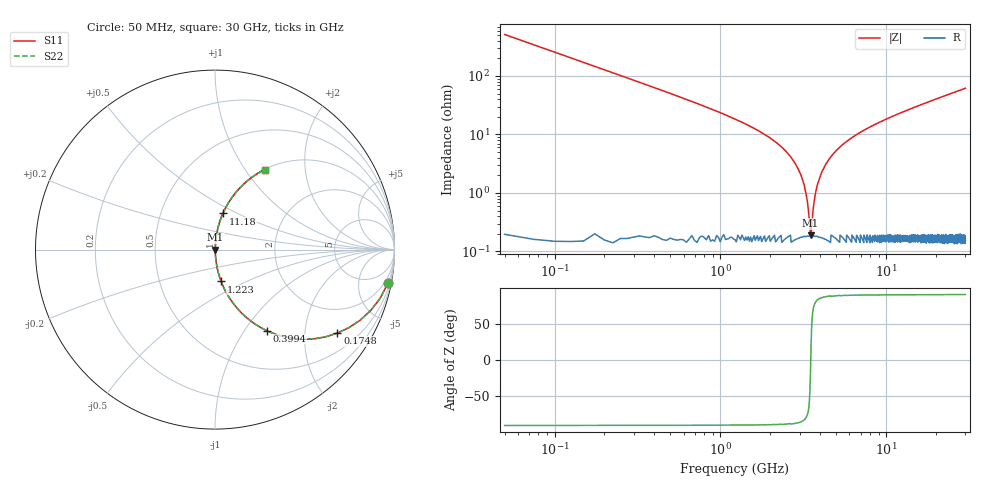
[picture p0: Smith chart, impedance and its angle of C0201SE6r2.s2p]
!	AVX Thin Film Operation 	Date: April 2014
!	Description: Accu-P® Series, Thin Film  SMD RF Capacitor
!	Part Number: 02013K6R2BBSTR
# MHZ S MA R 50
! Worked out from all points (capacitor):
!   1201 points, 50 MHz to 30 GHz, reference 50 ohm
!   read as one part in series: C = 6.2 pF near 199.8 MHz
!   lowest |Z| = 189 mohm at 3.494 GHz (marker M1)
!   series resonance near 3.505 GHz, so ESL is about 330 pH
!   S11 on the Smith chart (normalised r, x): 50 MHz: 1, -10; 174.8 MHz: 1.01, -2.93; 399.4 MHz: 1.00, -1.27; 1.223 GHz: 1.00, -0.37; 11.18 GHz: 1.00, +0.42; 30 GHz: 1.00, +1.24
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50  0.981 -11.0  0.191 79.0  0.191 79.0  0.981 -11.0
174.792  0.825 -34.3  0.563 55.6  0.563 55.6  0.825 -34.3
399.417  0.535 -57.5  0.843 32.3  0.843 32.3  0.535 -57.5
698.917  0.332 -70.3  0.942 19.4  0.942 19.4  0.332 -70.3
1223.042  0.181 -79.1  0.982 10.4  0.982 10.4  0.181 -79.1
2321.208  0.062 -84.9  0.996 3.5  0.996 3.5  0.062 -84.9
2845.333  0.031 -85.1  0.998 1.8  0.998 1.8  0.031 -85.1
3169.792  0.015 -82.7  0.998 0.8  0.998 0.8  0.015 -82.7
3394.417  0.004986 -70.2  0.998 0.3  0.998 0.3  0.004986 -70.2
3494.25  0.001729 -15.4  0.998 0.0  0.998 0.0  0.001729 -15.4
3594.083  0.004022 65.3  0.998 -0.2  0.998 -0.2  0.004022 65.3
3793.75  0.012 81.1  0.998 -0.7  0.998 -0.7  0.012 81.1
4018.375  0.02 84.1  0.998 -1.1  0.998 -1.1  0.02 84.1
4442.667  0.035 85.3  0.998 -2.0  0.998 -2.0  0.035 85.3
5041.667  0.054 85.1  0.997 -3.1  0.997 -3.1  0.054 85.1
6888.583  0.106 83.0  0.993 -6.1  0.993 -6.1  0.106 83.0
10058.29  0.181 79.0  0.982 -10.4  0.982 -10.4  0.181 79.0
11181.42  0.206 77.7  0.977 -11.9  0.977 -11.9  0.206 77.7
15025  0.284 73.2  0.957 -16.5  0.957 -16.5  0.284 73.2
20016.67  0.375 67.7  0.925 -22.0  0.925 -22.0  0.375 67.7
25033.29  0.456 62.7  0.889 -27.1  0.889 -27.1  0.456 62.7
30000  0.525 58.2  0.85 -31.7  0.85 -31.7  0.525 58.2
